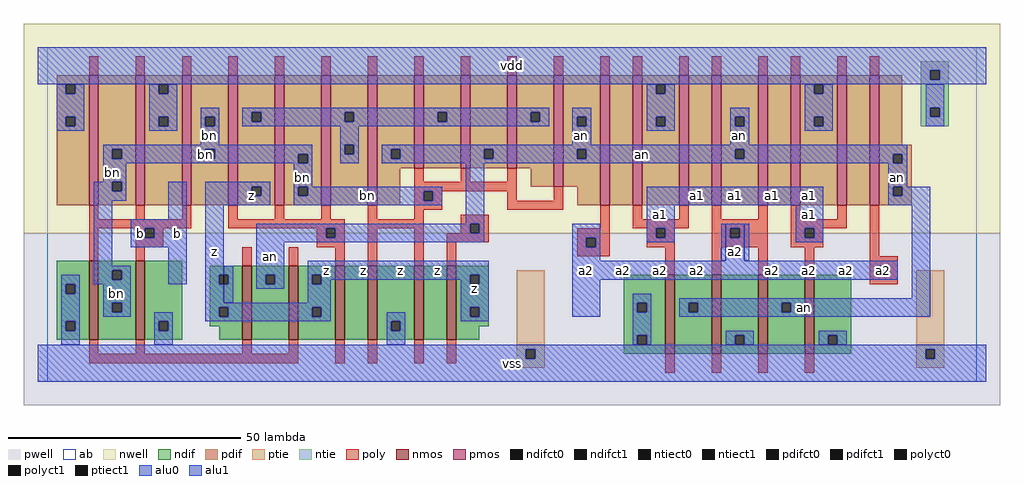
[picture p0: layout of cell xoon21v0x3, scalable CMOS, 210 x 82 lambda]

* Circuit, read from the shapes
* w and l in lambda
.subckt xoon21v0x3 a1 a2 an b bn vdd vss z
M1 bn b vss vss nfet w=17 l=2 m=2
M2 an b z vss nfet w=16 l=2 m=2
M3 n1 an z vss nfet w=16 l=2
M4 vss bn n1 vss nfet w=16 l=2
M5 n2 bn vss vss nfet w=16 l=2
M6 z an n2 vss nfet w=16 l=2
M7 an a1 vss vss nfet w=17 l=2 m=2
M8 vss a2 an vss nfet w=17 l=2 m=2
M9 bn b vdd vdd pfet w=28 l=2 m=3
M10 z an bn vdd pfet w=28 l=2 m=3
M11 an bn z vdd pfet w=28 l=2
M12 z bn an vdd pfet w=20 l=2 m=3
M13 an bn z vdd pfet w=24 l=2
M14 n3 a2 an vdd pfet w=28 l=2
M15 vdd a1 n3 vdd pfet w=28 l=2
M16 n4 a1 vdd vdd pfet w=28 l=2
M17 an a2 n4 vdd pfet w=28 l=2
M18 n5 a2 an vdd pfet w=28 l=2
M19 vdd a1 n5 vdd pfet w=28 l=2
M20 n6 a1 vdd vdd pfet w=28 l=2
M21 an a2 n6 vdd pfet w=28 l=2
.ends

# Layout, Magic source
magic
tech scmos
<< ab >>
rect 0 0 200 72
<< nwell >>
rect -5 32 205 77
<< pwell >>
rect -5 -5 205 32
<< poly >>
rect 9 66 11 70
rect 19 66 21 70
rect 29 66 31 70
rect 39 66 41 70
rect 49 66 51 70
rect 59 66 61 70
rect 69 66 71 70
rect 79 66 81 70
rect 89 66 91 70
rect 99 66 101 70
rect 109 66 111 70
rect 119 66 121 70
rect 126 66 128 70
rect 136 66 138 70
rect 143 66 145 70
rect 153 66 155 70
rect 160 66 162 70
rect 170 66 172 70
rect 177 66 179 70
rect 79 43 81 46
rect 89 43 91 46
rect 99 43 101 46
rect 79 41 101 43
rect 79 39 81 41
rect 83 39 85 41
rect 9 35 11 38
rect 19 35 21 38
rect 29 35 31 38
rect 9 33 31 35
rect 39 35 41 38
rect 49 35 51 38
rect 59 35 61 38
rect 69 35 71 38
rect 79 37 85 39
rect 99 39 101 41
rect 109 39 111 42
rect 99 37 111 39
rect 79 35 81 37
rect 39 33 64 35
rect 9 26 11 33
rect 19 31 21 33
rect 23 31 25 33
rect 19 29 25 31
rect 58 31 60 33
rect 62 31 64 33
rect 58 29 64 31
rect 19 26 21 29
rect 42 25 44 29
rect 52 25 54 29
rect 62 25 64 29
rect 69 33 81 35
rect 69 25 71 33
rect 79 25 81 33
rect 89 34 95 36
rect 89 32 91 34
rect 93 32 95 34
rect 119 33 121 38
rect 126 35 128 38
rect 136 35 138 38
rect 126 33 138 35
rect 143 35 145 38
rect 153 35 155 38
rect 143 33 155 35
rect 86 30 95 32
rect 114 31 121 33
rect 86 25 88 30
rect 114 29 116 31
rect 118 29 121 31
rect 129 31 131 33
rect 133 31 135 33
rect 129 29 135 31
rect 114 27 121 29
rect 9 6 11 9
rect 19 6 21 9
rect 42 6 44 9
rect 52 6 54 9
rect 9 4 54 6
rect 62 4 64 9
rect 69 4 71 9
rect 79 4 81 9
rect 86 4 88 9
rect 133 23 135 29
rect 143 31 147 33
rect 149 31 155 33
rect 143 29 155 31
rect 160 35 162 38
rect 170 35 172 38
rect 160 33 172 35
rect 160 31 163 33
rect 165 31 167 33
rect 160 29 167 31
rect 143 23 145 29
rect 153 23 155 29
rect 163 23 165 29
rect 177 27 179 38
rect 177 25 183 27
rect 177 23 179 25
rect 181 23 183 25
rect 177 21 183 23
rect 133 2 135 6
rect 143 2 145 6
rect 153 2 155 6
rect 163 2 165 6
<< ndif >>
rect 2 21 9 26
rect 2 19 4 21
rect 6 19 9 21
rect 2 13 9 19
rect 2 11 4 13
rect 6 11 9 13
rect 2 9 9 11
rect 11 24 19 26
rect 11 22 14 24
rect 16 22 19 24
rect 11 17 19 22
rect 11 15 14 17
rect 16 15 19 17
rect 11 9 19 15
rect 21 13 29 26
rect 21 11 24 13
rect 26 11 29 13
rect 35 23 42 25
rect 35 21 37 23
rect 39 21 42 23
rect 35 16 42 21
rect 35 14 37 16
rect 39 14 42 16
rect 35 12 42 14
rect 21 9 29 11
rect 37 9 42 12
rect 44 23 52 25
rect 44 21 47 23
rect 49 21 52 23
rect 44 9 52 21
rect 54 23 62 25
rect 54 21 57 23
rect 59 21 62 23
rect 54 16 62 21
rect 54 14 57 16
rect 59 14 62 16
rect 54 9 62 14
rect 64 9 69 25
rect 71 13 79 25
rect 71 11 74 13
rect 76 11 79 13
rect 71 9 79 11
rect 81 9 86 25
rect 88 23 95 25
rect 88 21 91 23
rect 93 21 95 23
rect 88 16 95 21
rect 88 14 91 16
rect 93 14 95 16
rect 88 12 95 14
rect 88 9 93 12
rect 124 17 133 23
rect 124 15 127 17
rect 129 15 133 17
rect 124 10 133 15
rect 124 8 127 10
rect 129 8 133 10
rect 124 6 133 8
rect 135 17 143 23
rect 135 15 138 17
rect 140 15 143 17
rect 135 6 143 15
rect 145 10 153 23
rect 145 8 148 10
rect 150 8 153 10
rect 145 6 153 8
rect 155 17 163 23
rect 155 15 158 17
rect 160 15 163 17
rect 155 6 163 15
rect 165 10 173 23
rect 165 8 168 10
rect 170 8 173 10
rect 165 6 173 8
<< pdif >>
rect 2 64 9 66
rect 2 62 4 64
rect 6 62 9 64
rect 2 57 9 62
rect 2 55 4 57
rect 6 55 9 57
rect 2 38 9 55
rect 11 50 19 66
rect 11 48 14 50
rect 16 48 19 50
rect 11 43 19 48
rect 11 41 14 43
rect 16 41 19 43
rect 11 38 19 41
rect 21 64 29 66
rect 21 62 24 64
rect 26 62 29 64
rect 21 57 29 62
rect 21 55 24 57
rect 26 55 29 57
rect 21 38 29 55
rect 31 57 39 66
rect 31 55 34 57
rect 36 55 39 57
rect 31 50 39 55
rect 31 48 34 50
rect 36 48 39 50
rect 31 38 39 48
rect 41 58 49 66
rect 41 56 44 58
rect 46 56 49 58
rect 41 42 49 56
rect 41 40 44 42
rect 46 40 49 42
rect 41 38 49 40
rect 51 49 59 66
rect 51 47 54 49
rect 56 47 59 49
rect 51 42 59 47
rect 51 40 54 42
rect 56 40 59 42
rect 51 38 59 40
rect 61 58 69 66
rect 61 56 64 58
rect 66 56 69 58
rect 61 51 69 56
rect 61 49 64 51
rect 66 49 69 51
rect 61 38 69 49
rect 71 50 79 66
rect 71 48 74 50
rect 76 48 79 50
rect 71 46 79 48
rect 81 58 89 66
rect 81 56 84 58
rect 86 56 89 58
rect 81 46 89 56
rect 91 50 99 66
rect 91 48 94 50
rect 96 48 99 50
rect 91 46 99 48
rect 101 58 109 66
rect 101 56 104 58
rect 106 56 109 58
rect 101 46 109 56
rect 71 38 76 46
rect 104 42 109 46
rect 111 57 119 66
rect 111 55 114 57
rect 116 55 119 57
rect 111 50 119 55
rect 111 48 114 50
rect 116 48 119 50
rect 111 42 119 48
rect 114 38 119 42
rect 121 38 126 66
rect 128 64 136 66
rect 128 62 131 64
rect 133 62 136 64
rect 128 57 136 62
rect 128 55 131 57
rect 133 55 136 57
rect 128 38 136 55
rect 138 38 143 66
rect 145 57 153 66
rect 145 55 148 57
rect 150 55 153 57
rect 145 50 153 55
rect 145 48 148 50
rect 150 48 153 50
rect 145 38 153 48
rect 155 38 160 66
rect 162 64 170 66
rect 162 62 165 64
rect 167 62 170 64
rect 162 57 170 62
rect 162 55 165 57
rect 167 55 170 57
rect 162 38 170 55
rect 172 38 177 66
rect 179 51 184 66
rect 179 49 186 51
rect 179 47 182 49
rect 184 47 186 49
rect 179 42 186 47
rect 179 40 182 42
rect 184 40 186 42
rect 179 38 186 40
<< alu1 >>
rect -2 67 202 72
rect -2 65 190 67
rect 192 65 202 67
rect -2 64 202 65
rect 26 35 30 43
rect 18 33 30 35
rect 18 31 21 33
rect 23 31 30 33
rect 18 29 30 31
rect 26 21 30 29
rect 34 42 48 43
rect 34 40 44 42
rect 46 40 48 42
rect 34 38 48 40
rect 34 23 38 38
rect 129 38 167 42
rect 113 31 119 34
rect 34 21 37 23
rect 34 17 38 21
rect 113 29 116 31
rect 118 29 119 31
rect 129 33 135 38
rect 129 31 131 33
rect 133 31 135 33
rect 129 30 135 31
rect 113 26 119 29
rect 146 33 150 34
rect 146 31 147 33
rect 149 31 150 33
rect 146 26 150 31
rect 161 33 167 38
rect 161 31 163 33
rect 165 31 167 33
rect 161 30 167 31
rect 56 23 95 26
rect 56 21 57 23
rect 59 22 91 23
rect 59 21 61 22
rect 56 17 61 21
rect 34 16 61 17
rect 34 14 37 16
rect 39 14 57 16
rect 59 14 61 16
rect 89 21 91 22
rect 93 21 95 23
rect 89 16 95 21
rect 34 13 61 14
rect 89 14 91 16
rect 93 14 95 16
rect 113 25 183 26
rect 113 23 179 25
rect 181 23 183 25
rect 113 22 183 23
rect 113 14 119 22
rect 89 13 95 14
rect -2 7 202 8
rect -2 5 103 7
rect 105 5 189 7
rect 191 5 202 7
rect -2 0 202 5
<< ptie >>
rect 101 7 107 24
rect 101 5 103 7
rect 105 5 107 7
rect 187 7 193 24
rect 101 3 107 5
rect 187 5 189 7
rect 191 5 193 7
rect 187 3 193 5
<< ntie >>
rect 188 67 194 69
rect 188 65 190 67
rect 192 65 194 67
rect 188 59 194 65
rect 188 57 190 59
rect 192 57 194 59
rect 188 55 194 57
<< nmos >>
rect 9 9 11 26
rect 19 9 21 26
rect 42 9 44 25
rect 52 9 54 25
rect 62 9 64 25
rect 69 9 71 25
rect 79 9 81 25
rect 86 9 88 25
rect 133 6 135 23
rect 143 6 145 23
rect 153 6 155 23
rect 163 6 165 23
<< pmos >>
rect 9 38 11 66
rect 19 38 21 66
rect 29 38 31 66
rect 39 38 41 66
rect 49 38 51 66
rect 59 38 61 66
rect 69 38 71 66
rect 79 46 81 66
rect 89 46 91 66
rect 99 46 101 66
rect 109 42 111 66
rect 119 38 121 66
rect 126 38 128 66
rect 136 38 138 66
rect 143 38 145 66
rect 153 38 155 66
rect 160 38 162 66
rect 170 38 172 66
rect 177 38 179 66
<< polyct0 >>
rect 81 39 83 41
rect 60 31 62 33
rect 91 32 93 34
<< polyct1 >>
rect 21 31 23 33
rect 116 29 118 31
rect 131 31 133 33
rect 147 31 149 33
rect 163 31 165 33
rect 179 23 181 25
<< ndifct0 >>
rect 4 19 6 21
rect 4 11 6 13
rect 14 22 16 24
rect 14 15 16 17
rect 24 11 26 13
rect 38 21 39 23
rect 47 21 49 23
rect 74 11 76 13
rect 127 15 129 17
rect 127 8 129 10
rect 138 15 140 17
rect 148 8 150 10
rect 158 15 160 17
rect 168 8 170 10
<< ndifct1 >>
rect 37 21 38 23
rect 37 14 39 16
rect 57 21 59 23
rect 57 14 59 16
rect 91 21 93 23
rect 91 14 93 16
<< ntiect0 >>
rect 190 57 192 59
<< ntiect1 >>
rect 190 65 192 67
<< ptiect1 >>
rect 103 5 105 7
rect 189 5 191 7
<< pdifct0 >>
rect 4 62 6 64
rect 4 55 6 57
rect 14 48 16 50
rect 14 41 16 43
rect 24 62 26 64
rect 24 55 26 57
rect 34 55 36 57
rect 34 48 36 50
rect 44 56 46 58
rect 54 47 56 49
rect 54 40 56 42
rect 64 56 66 58
rect 64 49 66 51
rect 74 48 76 50
rect 84 56 86 58
rect 94 48 96 50
rect 104 56 106 58
rect 114 55 116 57
rect 114 48 116 50
rect 131 62 133 64
rect 131 55 133 57
rect 148 55 150 57
rect 148 48 150 50
rect 165 62 167 64
rect 165 55 167 57
rect 182 47 184 49
rect 182 40 184 42
<< pdifct1 >>
rect 44 40 46 42
<< alu0 >>
rect 2 62 4 64
rect 6 62 8 64
rect 2 57 8 62
rect 2 55 4 57
rect 6 55 8 57
rect 2 54 8 55
rect 22 62 24 64
rect 26 62 28 64
rect 22 57 28 62
rect 129 62 131 64
rect 133 62 135 64
rect 22 55 24 57
rect 26 55 28 57
rect 22 54 28 55
rect 33 57 37 59
rect 33 55 34 57
rect 36 55 37 57
rect 42 58 108 59
rect 42 56 44 58
rect 46 56 64 58
rect 66 56 84 58
rect 86 56 104 58
rect 106 56 108 58
rect 42 55 108 56
rect 113 57 117 59
rect 113 55 114 57
rect 116 55 117 57
rect 33 51 37 55
rect 63 51 67 55
rect 113 51 117 55
rect 129 57 135 62
rect 163 62 165 64
rect 167 62 169 64
rect 129 55 131 57
rect 133 55 135 57
rect 129 54 135 55
rect 147 57 151 59
rect 147 55 148 57
rect 150 55 151 57
rect 147 51 151 55
rect 163 57 169 62
rect 163 55 165 57
rect 167 55 169 57
rect 189 59 193 64
rect 189 57 190 59
rect 192 57 193 59
rect 189 55 193 57
rect 163 54 169 55
rect 12 50 57 51
rect 12 48 14 50
rect 16 48 34 50
rect 36 49 57 50
rect 36 48 54 49
rect 12 47 54 48
rect 56 47 57 49
rect 63 49 64 51
rect 66 49 67 51
rect 63 47 67 49
rect 72 50 185 51
rect 72 48 74 50
rect 76 48 94 50
rect 96 48 114 50
rect 116 48 148 50
rect 150 49 185 50
rect 150 48 182 49
rect 72 47 182 48
rect 184 47 185 49
rect 12 43 17 47
rect 10 41 14 43
rect 16 41 17 43
rect 10 39 17 41
rect 10 25 14 39
rect 10 24 18 25
rect 3 21 7 23
rect 10 22 14 24
rect 16 22 18 24
rect 10 21 18 22
rect 53 42 57 47
rect 53 40 54 42
rect 56 41 85 42
rect 56 40 81 41
rect 53 39 81 40
rect 83 39 85 41
rect 53 38 85 39
rect 90 34 94 47
rect 181 42 185 47
rect 181 40 182 42
rect 184 40 190 42
rect 181 38 190 40
rect 45 33 91 34
rect 45 31 60 33
rect 62 32 91 33
rect 93 32 94 34
rect 62 31 94 32
rect 45 30 94 31
rect 38 23 40 25
rect 39 21 40 23
rect 3 19 4 21
rect 6 19 7 21
rect 3 13 7 19
rect 12 17 18 21
rect 12 15 14 17
rect 16 15 18 17
rect 38 17 40 21
rect 45 23 51 30
rect 145 26 146 34
rect 150 26 151 34
rect 45 21 47 23
rect 49 21 51 23
rect 45 20 51 21
rect 12 14 18 15
rect 3 11 4 13
rect 6 11 7 13
rect 3 8 7 11
rect 23 13 27 15
rect 73 13 77 15
rect 126 17 130 19
rect 186 18 190 38
rect 126 15 127 17
rect 129 15 130 17
rect 23 11 24 13
rect 26 11 27 13
rect 23 8 27 11
rect 73 11 74 13
rect 76 11 77 13
rect 73 8 77 11
rect 126 10 130 15
rect 136 17 190 18
rect 136 15 138 17
rect 140 15 158 17
rect 160 15 190 17
rect 136 14 190 15
rect 126 8 127 10
rect 129 8 130 10
rect 146 10 152 11
rect 146 8 148 10
rect 150 8 152 10
rect 166 10 172 11
rect 166 8 168 10
rect 170 8 172 10
<< labels >>
rlabel alu0 15 19 15 19 6 bn
rlabel alu0 14 45 14 45 6 bn
rlabel alu0 35 53 35 53 6 bn
rlabel alu0 48 27 48 27 6 an
rlabel alu0 69 40 69 40 6 bn
rlabel alu0 55 44 55 44 6 bn
rlabel alu0 34 49 34 49 6 bn
rlabel alu0 115 53 115 53 6 an
rlabel alu0 163 16 163 16 6 an
rlabel alu0 183 44 183 44 6 an
rlabel alu0 128 49 128 49 6 an
rlabel alu0 149 53 149 53 6 an
rlabel alu1 20 32 20 32 6 b
rlabel alu1 28 32 28 32 6 b
rlabel alu1 60 24 60 24 6 z
rlabel alu1 68 24 68 24 6 z
rlabel alu1 76 24 76 24 6 z
rlabel alu1 36 28 36 28 6 z
rlabel alu1 44 40 44 40 6 z
rlabel alu1 100 4 100 4 6 vss
rlabel alu1 116 24 116 24 6 a2
rlabel alu1 84 24 84 24 6 z
rlabel alu1 92 20 92 20 6 z
rlabel alu1 100 68 100 68 6 vdd
rlabel alu1 124 24 124 24 6 a2
rlabel alu1 132 24 132 24 6 a2
rlabel alu1 140 24 140 24 6 a2
rlabel alu1 156 24 156 24 6 a2
rlabel alu1 148 28 148 28 6 a2
rlabel alu1 140 40 140 40 6 a1
rlabel alu1 148 40 148 40 6 a1
rlabel alu1 156 40 156 40 6 a1
rlabel alu1 132 36 132 36 6 a1
rlabel alu1 164 24 164 24 6 a2
rlabel alu1 172 24 172 24 6 a2
rlabel polyct1 180 24 180 24 6 a2
rlabel alu1 164 36 164 36 6 a1
rlabel alu1 164 40 164 40 6 a1
<< end >>
